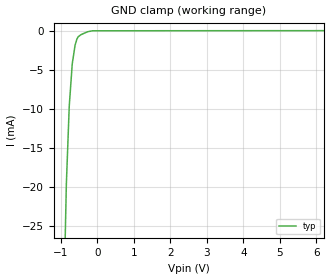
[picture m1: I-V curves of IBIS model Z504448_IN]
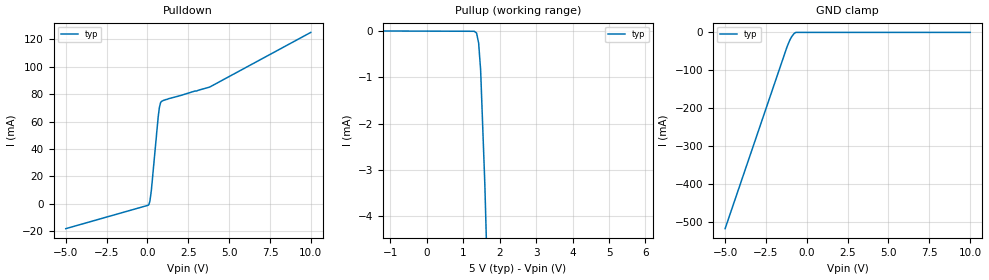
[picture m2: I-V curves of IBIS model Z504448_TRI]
| YOU ARE ONLY AUTHORIZED TO USE THIS SOFTWARE
| ACCORDING TO LICENSOR'S LICENSE RESTRICTIONS.
[IBIS Ver] 3.1
[File Name] sn54ls374j.ibs
[File Rev] 2.0
[Source] Measured and created by ICX Technology
[Date] Friday 7/14/00 9:08:15 AM
[Copyright]
| (C) COPYRIGHT 1993-2000
| MENTOR GRAPHICS CORPORATION
| ICX STANDARD LIBRARY, ICX PROJECT MODELING,
| ICX CUSTOM MODELING, ICX VENDOR MODEL
| ALL RIGHTS RESERVED.
| THE FOLLOWING ARE TRADEMARKS OR SERVICE MARKS OF
| MENTOR GRAPHICS CORPORATION:ICX (R), ICX STANDARD
| LIBRARY(R), ICX PROJECT MODELING(R), ICX CUSTOM
| MODELING(R), qualityIBIS(TM), MODELVIEWER(TM),
| AND MODELEDITOR(TM)
| ALL COPIES OF SOFTWARE, INCLUDING BUT NOT LIMITED TO
| ANY MODIFICATIONS, ENHANCEMENTS OR DERIVATIVE WORKS,
| MUST CONTAIN ALL MENTOR GRAPHICS CORPORATION'S
| NOTICES AND LEGENDS, INCLUDING THOSE EMBEDDED IN
| SOFTWARE AND THOSE AFFIXED TO SOFTWARE MEDIUM
| AND CONTAINER, AS RECEIVED FROM MENTOR GRAPHICS
| CORPORATION.
|  ZAP Model Builder 2.7
[Component] SN54LS374J
[Manufacturer] OnSemiconductor
[Package]
| variable   typ   min   max
R_pkg  .216ohms NA NA
L_pkg  5.76nH NA NA
C_pkg  2.193pF NA NA
[Pin] signal_name  model_name  R_pin  L_pin C_pin
1 _G Z504448_IN .232 9.76n 3.179p
2 Q0 Z504448_TRI .224 7.26n 2.686p
3 D0 Z504448_IN .216 5.26n 2.193p
4 D1 Z504448_IN .208 3.76n 1.7p
5 Q1 Z504448_TRI .2 2.76n 1.207p
6 Q2 Z504448_TRI .2 2.76n 1.207p
7 D2 Z504448_IN .208 3.76n 1.7p
8 D3 Z504448_IN .216 5.26n 2.193p
9 Q3 Z504448_TRI .224 7.26n 2.686p
10 GND GND .232 9.76n 3.179p
11 CLK Z504448_IN .232 9.76n 3.179p
12 Q4 Z504448_TRI .224 7.26n 2.686p
13 D4 Z504448_IN .216 5.26n 2.193p
14 D5 Z504448_IN .208 3.76n 1.7p
15 Q5 Z504448_TRI .2 2.76n 1.207p
16 Q6 Z504448_TRI .2 2.76n 1.207p
17 D6 Z504448_IN .208 3.76n 1.7p
18 D7 Z504448_IN .216 5.26n 2.193p
19 Q7 Z504448_TRI .224 7.26n 2.686p
20 VCC POWER .232 9.76n 3.179p
| Models and submodels in the file (2): Z504448_IN (Input), Z504448_TRI (3-state)
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| (C) COPYRIGHT 1993-2000
| MENTOR GRAPHICS CORPORATION
| ICX STANDARD LIBRARY, ICX PROJECT MODELING,
| ICX CUSTOM MODELING, ICX VENDOR MODEL
| ALL RIGHTS RESERVED.
| THE FOLLOWING ARE TRADEMARKS OR SERVICE MARKS OF
| MENTOR GRAPHICS CORPORATION:ICX (R), ICX STANDARD
| LIBRARY(R), ICX PROJECT MODELING(R), ICX CUSTOM
| MODELING(R), qualityIBIS(TM), MODELVIEWER(TM),
| AND MODELEDITOR(TM)
| ALL COPIES OF SOFTWARE, INCLUDING BUT NOT LIMITED TO
| ANY MODIFICATIONS, ENHANCEMENTS OR DERIVATIVE WORKS,
| MUST CONTAIN ALL MENTOR GRAPHICS CORPORATION'S
| NOTICES AND LEGENDS, INCLUDING THOSE EMBEDDED IN
| SOFTWARE AND THOSE AFFIXED TO SOFTWARE MEDIUM
| AND CONTAINER, AS RECEIVED FROM MENTOR GRAPHICS
| CORPORATION.
| Model Application Version 1.89 2/18/99.
[Model] Z504448_IN
Model_type Input
Vinl = 800.0mV
Vinh = 2.000V
C_comp 4.000pF NA NA
| variable typ   min   max
[Voltage Range] 5.000V NA NA
[GND Clamp Reference] 0.000V NA NA
[POWER Clamp Reference] 5.000V NA NA
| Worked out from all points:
|   GND clamp passes 1 mA (typ) near -0.55 V on its own axis
[GND Clamp]
-5V       -926.1mA   NA         NA
-848.8mV  -19.7mA    NA         NA
-769.3mV  -9.649mA   NA         NA
-687.5mV  -4.257mA   NA         NA
-609.8mV  -1.862mA   NA         NA
-559.9mV  -1.072mA   NA         NA
-522.5mV  -772.4uA   NA         NA
-444.3mV  -504.1uA   NA         NA
-266.5mV  -138uA     NA         NA
-133.2mV  -14.21uA   NA         NA
10V       12.01uA    NA         NA
[POWER Clamp]
-5V       0A         NA         NA
10V       0A         NA         NA
| (C) COPYRIGHT 1993-2000
| MENTOR GRAPHICS CORPORATION
| ICX STANDARD LIBRARY, ICX PROJECT MODELING,
| ICX CUSTOM MODELING, ICX VENDOR MODEL
| ALL RIGHTS RESERVED.
| THE FOLLOWING ARE TRADEMARKS OR SERVICE MARKS OF
| MENTOR GRAPHICS CORPORATION:ICX (R), ICX STANDARD
| LIBRARY(R), ICX PROJECT MODELING(R), ICX CUSTOM
| MODELING(R), qualityIBIS(TM), MODELVIEWER(TM),
| AND MODELEDITOR(TM)
| ALL COPIES OF SOFTWARE, INCLUDING BUT NOT LIMITED TO
| ANY MODIFICATIONS, ENHANCEMENTS OR DERIVATIVE WORKS,
| MUST CONTAIN ALL MENTOR GRAPHICS CORPORATION'S
| NOTICES AND LEGENDS, INCLUDING THOSE EMBEDDED IN
| SOFTWARE AND THOSE AFFIXED TO SOFTWARE MEDIUM
| AND CONTAINER, AS RECEIVED FROM MENTOR GRAPHICS
| CORPORATION.
| Model Application Version 1.89 2/18/99.
[Model] Z504448_TRI
Model_type 3-state
Vref=588.0mV
Rref=588.5ohms
Cref=45.00pF
Vmeas=1.300V
C_comp 8.000pF NA NA
| variable typ   min   max
[Voltage Range] 5.000V NA NA
[POWER Clamp Reference] 5.000V NA NA
[Pullup Reference] 5.000V NA NA
[Pulldown Reference] 0.000V NA NA
[GND Clamp Reference] 0.000V NA NA
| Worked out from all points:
|   slope of the pulldown table from 0 to 0.75 V, typ, clamps not added: 10.4 ohm
|   GND clamp passes 1 mA (typ) near -0.71 V on its own axis
[GND Clamp]
-5V       -516.7mA   NA         NA
-1.201V   -36.93mA   NA         NA
-1.04V    -20.49mA   NA         NA
-932.2mV  -11.79mA   NA         NA
-781.1mV  -3.095mA   NA         NA
-669.5mV  0A         NA         NA
10V       0A         NA         NA
[Pulldown]
-5V       -18.06mA   NA         NA
87.89mV   -421.2uA   NA         NA
150mV     1.976mA    NA         NA
238.7mV   9.842mA    NA         NA
656.9mV   63.42mA    NA         NA
731.6mV   70.38mA    NA         NA
805.7mV   73.94mA    NA         NA
863.3mV   74.78mA    NA         NA
3.808V    85.21mA    NA         NA
10V       125.1mA    NA         NA
[Pullup]
-5V       16.68uA    NA         NA
1.301V    867.5nA    NA         NA
1.364V    -38.56uA   NA         NA
1.421V    -256.2uA   NA         NA
1.475V    -837.6uA   NA         NA
1.591V    -3.322mA   NA         NA
10V       -244.8mA   NA         NA
[POWER Clamp]
-5V       0A         NA         NA
10V       0A         NA         NA
[Ramp]
| variable typ min max
dV/dt_r 1.921/7.347n NA NA
dV/dt_f 1.921/2.795n NA NA
R_load = 500.0Ohms
